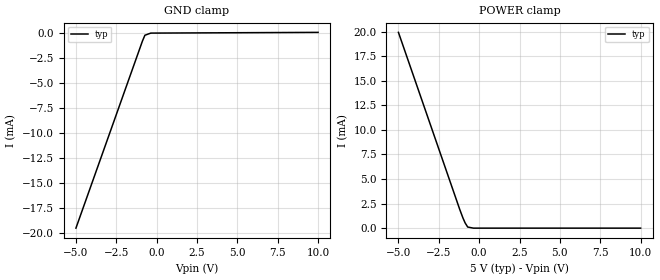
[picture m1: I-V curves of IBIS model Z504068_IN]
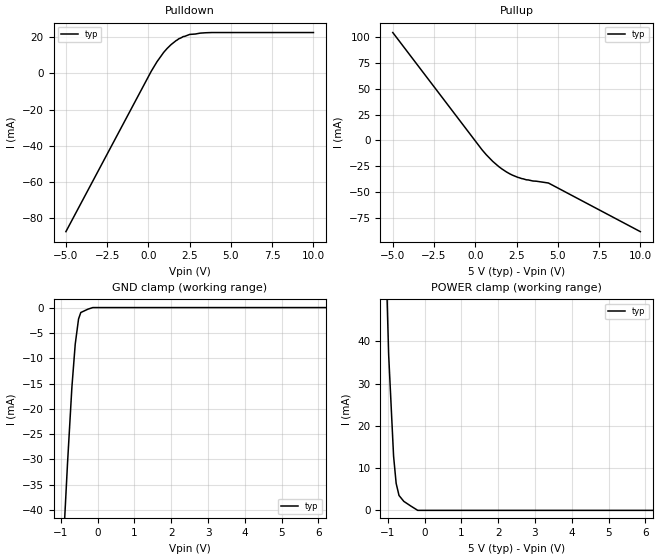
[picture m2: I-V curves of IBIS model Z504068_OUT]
| YOU ARE ONLY AUTHORIZED TO USE THIS SOFTWARE
| ACCORDING TO LICENSOR'S LICENSE RESTRICTIONS.
[IBIS Ver] 3.1
[File Name] mc54hc160j.ibs
[File Rev] 2.0
[Source] Measured and created by ICX Technology
[Date] Friday 7/14/00 9:08:06 AM
[Copyright]
| (C) COPYRIGHT 1993-2000
| MENTOR GRAPHICS CORPORATION
| ICX STANDARD LIBRARY, ICX PROJECT MODELING,
| ICX CUSTOM MODELING, ICX VENDOR MODEL
| ALL RIGHTS RESERVED.
| THE FOLLOWING ARE TRADEMARKS OR SERVICE MARKS OF
| MENTOR GRAPHICS CORPORATION:ICX (R), ICX STANDARD
| LIBRARY(R), ICX PROJECT MODELING(R), ICX CUSTOM
| MODELING(R), qualityIBIS(TM), MODELVIEWER(TM),
| AND MODELEDITOR(TM)
| ALL COPIES OF SOFTWARE, INCLUDING BUT NOT LIMITED TO
| ANY MODIFICATIONS, ENHANCEMENTS OR DERIVATIVE WORKS,
| MUST CONTAIN ALL MENTOR GRAPHICS CORPORATION'S
| NOTICES AND LEGENDS, INCLUDING THOSE EMBEDDED IN
| SOFTWARE AND THOSE AFFIXED TO SOFTWARE MEDIUM
| AND CONTAINER, AS RECEIVED FROM MENTOR GRAPHICS
| CORPORATION.
|  ZAP Model Builder 2.7
[Component] MC54HC160J
[Manufacturer] OnSemiconductor
[Package]
| variable   typ   min   max
R_pkg  .212ohms NA NA
L_pkg  4.758nH NA NA
C_pkg  1.944pF NA NA
[Pin] signal_name  model_name  R_pin  L_pin C_pin
1 _CLR Z504068_IN .224 7.258n 2.683p
2 CLK Z504068_IN .216 5.258n 2.19p
3 A Z504068_IN .208 3.758n 1.697p
4 B Z504068_IN .2 2.758n 1.204p
5 C Z504068_IN .2 2.758n 1.204p
6 D Z504068_IN .208 3.758n 1.697p
7 ENP Z504068_IN .216 5.258n 2.19p
8 GROUND GND .224 7.258n 2.683p
9 _LOAD Z504068_IN .224 7.258n 2.683p
10 ENT Z504068_IN .216 5.258n 2.19p
11 QD Z504068_OUT .208 3.758n 1.697p
12 QC Z504068_OUT .2 2.758n 1.204p
13 QB Z504068_OUT .2 2.758n 1.204p
14 QA Z504068_OUT .208 3.758n 1.697p
15 RCO Z504068_OUT .216 5.258n 2.19p
16 VCC POWER .224 7.258n 2.683p
| Models and submodels in the file (2): Z504068_IN (Input), Z504068_OUT (Output)
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| (C) COPYRIGHT 1993-2000
| MENTOR GRAPHICS CORPORATION
| ICX STANDARD LIBRARY, ICX PROJECT MODELING,
| ICX CUSTOM MODELING, ICX VENDOR MODEL
| ALL RIGHTS RESERVED.
| THE FOLLOWING ARE TRADEMARKS OR SERVICE MARKS OF
| MENTOR GRAPHICS CORPORATION:ICX (R), ICX STANDARD
| LIBRARY(R), ICX PROJECT MODELING(R), ICX CUSTOM
| MODELING(R), qualityIBIS(TM), MODELVIEWER(TM),
| AND MODELEDITOR(TM)
| ALL COPIES OF SOFTWARE, INCLUDING BUT NOT LIMITED TO
| ANY MODIFICATIONS, ENHANCEMENTS OR DERIVATIVE WORKS,
| MUST CONTAIN ALL MENTOR GRAPHICS CORPORATION'S
| NOTICES AND LEGENDS, INCLUDING THOSE EMBEDDED IN
| SOFTWARE AND THOSE AFFIXED TO SOFTWARE MEDIUM
| AND CONTAINER, AS RECEIVED FROM MENTOR GRAPHICS
| CORPORATION.
| Model Application Version 1.89 2/18/99.
[Model] Z504068_IN
Model_type Input
Vinl = 1.000V
Vinh = 3.500V
C_comp 4.000pF NA NA
| variable typ   min   max
[Voltage Range] 5.000V NA NA
[GND Clamp Reference] 0.000V NA NA
[POWER Clamp Reference] 5.000V NA NA
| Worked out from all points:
|   POWER clamp passes 1 mA (typ) near -0.99 V on its own axis
[GND Clamp]
-5V       -19.54mA   NA         NA
-878.9mV  -822.4uA   NA         NA
-728.5mV  -247.7uA   NA         NA
-364.3mV  -32.27uA   NA         NA
10V       40.73uA    NA         NA
[POWER Clamp]
-5V       19.93mA    NA         NA
-1.195V   1.869mA    NA         NA
-1.003V   1.03mA     NA         NA
-867mV    526uA      NA         NA
-710mV    113.1uA    NA         NA
-355mV    0A         NA         NA
10V       0A         NA         NA
| (C) COPYRIGHT 1993-2000
| MENTOR GRAPHICS CORPORATION
| ICX STANDARD LIBRARY, ICX PROJECT MODELING,
| ICX CUSTOM MODELING, ICX VENDOR MODEL
| ALL RIGHTS RESERVED.
| THE FOLLOWING ARE TRADEMARKS OR SERVICE MARKS OF
| MENTOR GRAPHICS CORPORATION:ICX (R), ICX STANDARD
| LIBRARY(R), ICX PROJECT MODELING(R), ICX CUSTOM
| MODELING(R), qualityIBIS(TM), MODELVIEWER(TM),
| AND MODELEDITOR(TM)
| ALL COPIES OF SOFTWARE, INCLUDING BUT NOT LIMITED TO
| ANY MODIFICATIONS, ENHANCEMENTS OR DERIVATIVE WORKS,
| MUST CONTAIN ALL MENTOR GRAPHICS CORPORATION'S
| NOTICES AND LEGENDS, INCLUDING THOSE EMBEDDED IN
| SOFTWARE AND THOSE AFFIXED TO SOFTWARE MEDIUM
| AND CONTAINER, AS RECEIVED FROM MENTOR GRAPHICS
| CORPORATION.
| Model Application Version 1.89 2/18/99.
[Model] Z504068_OUT
Model_type Output
Vref=0.000V
Rref=500.0Mohms
Cref=50.00pF
Vmeas=2.500V
C_comp 8.000pF NA NA
| variable typ   min   max
[Voltage Range] 5.000V NA NA
[POWER Clamp Reference] 5.000V NA NA
[Pullup Reference] 5.000V NA NA
[Pulldown Reference] 0.000V NA NA
[GND Clamp Reference] 0.000V NA NA
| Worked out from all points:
|   slope of the pulldown table from 0 to 0.75 V, typ, clamps not added: 67.3 ohm
|   slope of the pullup table from 0 to 0.75 V, typ, clamps not added: 50.8 ohm
|   GND clamp passes 1 mA (typ) near -0.46 V on its own axis
|   POWER clamp passes 1 mA (typ) near -0.37 V on its own axis
[GND Clamp]
-5V       -773.6mA   NA         NA
-1.162V   -79.08mA   NA         NA
-820.1mV  -30.81mA   NA         NA
-701.6mV  -15.81mA   NA         NA
-610.2mV  -7.22mA    NA         NA
-519.9mV  -2.25mA    NA         NA
-459mV    -974.9uA   NA         NA
-263.7mV  -311uA     NA         NA
-131.9mV  0A         NA         NA
10V       0A         NA         NA
[Pulldown]
-5V       -87.57mA   NA         NA
166.1mV   1.071mA    NA         NA
517.6mV   6.405mA    NA         NA
928.2mV   11.64mA    NA         NA
1.368V    15.86mA    NA         NA
1.862V    19.25mA    NA         NA
2.1V      20.33mA    NA         NA
2.499V    21.53mA    NA         NA
3.135V    22.25mA    NA         NA
10V       22.58mA    NA         NA
[Pullup]
-5V       104.5mA    NA         NA
410mV     -9.212mA   NA         NA
1.056V    -20.39mA   NA         NA
1.411V    -25.31mA   NA         NA
2.1V      -32.58mA   NA         NA
2.598V    -36.02mA   NA         NA
3.095V    -38.28mA   NA         NA
4.431V    -41.38mA   NA         NA
10V       -88.53mA   NA         NA
[POWER Clamp]
-5V       1.632A     NA         NA
-1.152V   91.29mA    NA         NA
-976mV    36.94mA    NA         NA
-842mV    12.85mA    NA         NA
-772mV    6.393mA    NA         NA
-694mV    3.522mA    NA         NA
-563mV    2.125mA    NA         NA
-371mV    1.01mA     NA         NA
-185.5mV  0A         NA         NA
10V       0A         NA         NA
[Ramp]
| variable typ min max
dV/dt_r 2.699/2.179n NA NA
dV/dt_f 2.699/1.874n NA NA
R_load = 500.0Ohms
